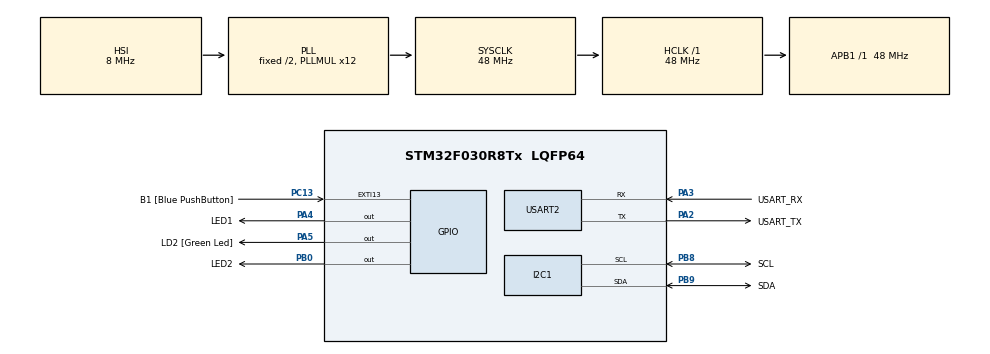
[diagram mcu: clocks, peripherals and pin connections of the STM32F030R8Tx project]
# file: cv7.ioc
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FREERTOS.Queues01=xVisualQueue,16,uint16_t,0,Dynamic,NULL,NULL
FREERTOS.Tasks01=defaultTask,0,128,StartDefaultTask,Default,NULL,Dynamic,NULL,NULL;VisualTask,0,128,StartVisualTask,Default,NULL,Dynamic,NULL,NULL;AcceleroTask,0,128,StartAcceleroTask,Default,NULL,Dynamic,NULL,NULL
FREERTOS.configUSE_NEWLIB_REENTRANT=1
Mcu.Family=STM32F0
Mcu.Name=STM32F030R8Tx
Mcu.Package=LQFP64
NVIC.TIM14_IRQn=true\:3\:0\:false\:false\:true\:false\:false\:true\:true
NVIC.TimeBase=TIM14_IRQn
NVIC.TimeBaseIP=TIM14
PA13.GPIO_Label=TMS
PA13.Mode=Serial_Wire
PA13.Signal=SYS_SWDIO
PA14.GPIO_Label=TCK
PA14.Mode=Serial_Wire
PA14.Signal=SYS_SWCLK
PA2.GPIO_Label=USART_TX
PA2.GPIO_Mode=GPIO_MODE_AF_PP
PA2.GPIO_PuPd=GPIO_NOPULL
PA2.GPIO_Speed=GPIO_SPEED_FREQ_LOW
PA2.Mode=Asynchronous
PA2.Signal=USART2_TX
PA3.GPIO_Label=USART_RX
PA3.GPIO_Mode=GPIO_MODE_AF_PP
PA3.GPIO_PuPd=GPIO_NOPULL
PA3.GPIO_Speed=GPIO_SPEED_FREQ_LOW
PA3.Mode=Asynchronous
PA3.Signal=USART2_RX
PA4.GPIO_Label=LED1
PA4.Signal=GPIO_Output
PA5.GPIO_Label=LD2 [Green Led]
PA5.GPIO_Mode=GPIO_MODE_OUTPUT_PP
PA5.GPIO_PuPd=GPIO_NOPULL
PA5.GPIO_Speed=GPIO_SPEED_FREQ_LOW
PA5.Signal=GPIO_Output
PB0.GPIO_Label=LED2
PB0.Signal=GPIO_Output
PB8.GPIO_Label=SCL
PB8.Mode=I2C
PB8.Signal=I2C1_SCL
PB9.GPIO_Label=SDA
PB9.Mode=I2C
PB9.Signal=I2C1_SDA
PC13.GPIO_Label=B1 [Blue PushButton]
PC13.GPIO_ModeDefaultEXTI=GPIO_MODE_IT_FALLING
PC13.Signal=GPXTI13
PC14-OSC32_IN.Mode=LSE-External-Oscillator
PC14-OSC32_IN.Signal=RCC_OSC32_IN
PC15-OSC32_OUT.Mode=LSE-External-Oscillator
PC15-OSC32_OUT.Signal=RCC_OSC32_OUT
PF0-OSC_IN.Mode=HSE-External-Clock-Source
PF0-OSC_IN.Signal=RCC_OSC_IN
PF1-OSC_OUT.Signal=RCC_OSC_OUT
ProjectManager.HeapSize=0x200
ProjectManager.StackSize=0x400
ProjectManager.TargetToolchain=STM32CubeIDE
RCC.AHBFreq_Value=48000000
RCC.APB1Freq_Value=48000000
RCC.APB1TimFreq_Value=48000000
RCC.HCLKFreq_Value=48000000
RCC.PLLMUL=RCC_PLL_MUL12
RCC.SYSCLKFreq_VALUE=48000000
RCC.SYSCLKSource=RCC_SYSCLKSOURCE_PLLCLK
USART2.VirtualMode-Asynchronous=VM_ASYNC
VP_FREERTOS_VS_CMSIS_V1.Mode=CMSIS_V1
VP_SYS_VS_tim14.Mode=TIM14
board=NUCLEO-F030R8

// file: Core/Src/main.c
/* USER CODE BEGIN Header */
/**
  ******************************************************************************
  * @file           : main.c
  * @brief          : Main program body
  ******************************************************************************
  * @attention
  *
  * Copyright (c) 2023 STMicroelectronics.
  * All rights reserved.
  *
  * This software is licensed under terms that can be found in the LICENSE file
  * in the root directory of this software component.
  * If no LICENSE file comes with this software, it is provided AS-IS.
  *
  ******************************************************************************
  */
/* USER CODE END Header */
#include "main.h"
#include "cmsis_os.h"

/* USER CODE BEGIN Includes */
#include "lis2dw12_reg.h"
#include <stdio.h>
/* USER CODE END Includes */

/* USER CODE BEGIN PD */
#define SEND_MSG_Delay 1000
/* USER CODE END PD */

I2C_HandleTypeDef hi2c1;

UART_HandleTypeDef huart2;

osThreadId defaultTaskHandle;
osThreadId VisualTaskHandle;
osThreadId AcceleroTaskHandle;
osMessageQId xVisualQueueHandle;

void SystemClock_Config(void);
static void MX_GPIO_Init(void);
static void MX_USART2_UART_Init(void);
static void MX_I2C1_Init(void);
void StartDefaultTask(void const * argument);
void StartVisualTask(void const * argument);
void StartAcceleroTask(void const * argument);

/* USER CODE BEGIN 0 */
static int32_t platform_write(void *handle, uint8_t reg,  uint8_t *bufp, uint16_t len);
static int32_t platform_read(void *handle, uint8_t reg,  uint8_t *bufp, uint16_t len);
static stmdev_ctx_t lis2dw12 = {
 .write_reg = platform_write,
 .read_reg = platform_read,
 .handle = &hi2c1,
};

static int32_t platform_write(void *handle, uint8_t reg,  uint8_t *bufp, uint16_t len)
{
 HAL_I2C_Mem_Write(handle, LIS2DW12_I2C_ADD_H, reg, I2C_MEMADD_SIZE_8BIT, bufp, len, 1000);
 return 0;
}
static int32_t platform_read(void *handle, uint8_t reg,  uint8_t *bufp, uint16_t len)
{
 HAL_I2C_Mem_Read(handle, LIS2DW12_I2C_ADD_H, reg, I2C_MEMADD_SIZE_8BIT, bufp, len, 1000);
 return 0;
}

int _write(int file, char const *buf, int n)
{
	HAL_UART_Transmit(&huart2, (uint8_t*)(buf), n, HAL_MAX_DELAY);
	return n;
}
/* USER CODE END 0 */

int main(void)
{

  /* MCU Configuration--------------------------------------------------------*/

  /* Reset of all peripherals, Initializes the Flash interface and the Systick. */
  HAL_Init();

  /* Configure the system clock */
  SystemClock_Config();

  /* Initialize all configured peripherals */
  MX_GPIO_Init();
  MX_USART2_UART_Init();
  MX_I2C1_Init();

  /* Create the queue(s) */
  /* definition and creation of xVisualQueue */
  osMessageQDef(xVisualQueue, 16, uint16_t);
  xVisualQueueHandle = osMessageCreate(osMessageQ(xVisualQueue), NULL);

  /* Create the thread(s) */
  /* definition and creation of defaultTask */
  osThreadDef(defaultTask, StartDefaultTask, osPriorityNormal, 0, 128);
  defaultTaskHandle = osThreadCreate(osThread(defaultTask), NULL);

  /* definition and creation of VisualTask */
  osThreadDef(VisualTask, StartVisualTask, osPriorityNormal, 0, 128);
  VisualTaskHandle = osThreadCreate(osThread(VisualTask), NULL);

  /* definition and creation of AcceleroTask */
  osThreadDef(AcceleroTask, StartAcceleroTask, osPriorityNormal, 0, 128);
  AcceleroTaskHandle = osThreadCreate(osThread(AcceleroTask), NULL);

  /* Start scheduler */
  osKernelStart();

  /* We should never get here as control is now taken by the scheduler */
  /* Infinite loop */
  while (1)
  {

  }
}

void SystemClock_Config(void)
{
  RCC_OscInitTypeDef RCC_OscInitStruct = {0};
  RCC_ClkInitTypeDef RCC_ClkInitStruct = {0};
  RCC_PeriphCLKInitTypeDef PeriphClkInit = {0};

  /** Initializes the RCC Oscillators according to the specified parameters
  * in the RCC_OscInitTypeDef structure.
  */
  RCC_OscInitStruct.OscillatorType = RCC_OSCILLATORTYPE_HSI;
  RCC_OscInitStruct.HSIState = RCC_HSI_ON;
  RCC_OscInitStruct.HSICalibrationValue = RCC_HSICALIBRATION_DEFAULT;
  RCC_OscInitStruct.PLL.PLLState = RCC_PLL_ON;
  RCC_OscInitStruct.PLL.PLLSource = RCC_PLLSOURCE_HSI;
  RCC_OscInitStruct.PLL.PLLMUL = RCC_PLL_MUL12;
  RCC_OscInitStruct.PLL.PREDIV = RCC_PREDIV_DIV1;
  if (HAL_RCC_OscConfig(&RCC_OscInitStruct) != HAL_OK)
  {
    Error_Handler();
  }

  /** Initializes the CPU, AHB and APB buses clocks
  */
  RCC_ClkInitStruct.ClockType = RCC_CLOCKTYPE_HCLK|RCC_CLOCKTYPE_SYSCLK
                              |RCC_CLOCKTYPE_PCLK1;
  RCC_ClkInitStruct.SYSCLKSource = RCC_SYSCLKSOURCE_PLLCLK;
  RCC_ClkInitStruct.AHBCLKDivider = RCC_SYSCLK_DIV1;
  RCC_ClkInitStruct.APB1CLKDivider = RCC_HCLK_DIV1;

  if (HAL_RCC_ClockConfig(&RCC_ClkInitStruct, FLASH_LATENCY_1) != HAL_OK)
  {
    Error_Handler();
  }
  PeriphClkInit.PeriphClockSelection = RCC_PERIPHCLK_I2C1;
  PeriphClkInit.I2c1ClockSelection = RCC_I2C1CLKSOURCE_HSI;
  if (HAL_RCCEx_PeriphCLKConfig(&PeriphClkInit) != HAL_OK)
  {
    Error_Handler();
  }
}

static void MX_I2C1_Init(void)
{

  hi2c1.Instance = I2C1;
  hi2c1.Init.Timing = 0x2000090E;
  hi2c1.Init.OwnAddress1 = 0;
  hi2c1.Init.AddressingMode = I2C_ADDRESSINGMODE_7BIT;
  hi2c1.Init.DualAddressMode = I2C_DUALADDRESS_DISABLE;
  hi2c1.Init.OwnAddress2 = 0;
  hi2c1.Init.OwnAddress2Masks = I2C_OA2_NOMASK;
  hi2c1.Init.GeneralCallMode = I2C_GENERALCALL_DISABLE;
  hi2c1.Init.NoStretchMode = I2C_NOSTRETCH_DISABLE;
  if (HAL_I2C_Init(&hi2c1) != HAL_OK)
  {
    Error_Handler();
  }

  /** Configure Analogue filter
  */
  if (HAL_I2CEx_ConfigAnalogFilter(&hi2c1, I2C_ANALOGFILTER_ENABLE) != HAL_OK)
  {
    Error_Handler();
  }

  /** Configure Digital filter
  */
  if (HAL_I2CEx_ConfigDigitalFilter(&hi2c1, 0) != HAL_OK)
  {
    Error_Handler();
  }

}

static void MX_USART2_UART_Init(void)
{

  huart2.Instance = USART2;
  huart2.Init.BaudRate = 38400;
  huart2.Init.WordLength = UART_WORDLENGTH_8B;
  huart2.Init.StopBits = UART_STOPBITS_1;
  huart2.Init.Parity = UART_PARITY_NONE;
  huart2.Init.Mode = UART_MODE_TX_RX;
  huart2.Init.HwFlowCtl = UART_HWCONTROL_NONE;
  huart2.Init.OverSampling = UART_OVERSAMPLING_16;
  huart2.Init.OneBitSampling = UART_ONE_BIT_SAMPLE_DISABLE;
  huart2.AdvancedInit.AdvFeatureInit = UART_ADVFEATURE_NO_INIT;
  if (HAL_UART_Init(&huart2) != HAL_OK)
  {
    Error_Handler();
  }

}

static void MX_GPIO_Init(void)
{
  GPIO_InitTypeDef GPIO_InitStruct = {0};

  /* GPIO Ports Clock Enable */
  __HAL_RCC_GPIOC_CLK_ENABLE();
  __HAL_RCC_GPIOF_CLK_ENABLE();
  __HAL_RCC_GPIOA_CLK_ENABLE();
  __HAL_RCC_GPIOB_CLK_ENABLE();

  /*Configure GPIO pin Output Level */
  HAL_GPIO_WritePin(GPIOA, LED1_Pin|LD2_Pin, GPIO_PIN_RESET);

  /*Configure GPIO pin Output Level */
  HAL_GPIO_WritePin(LED2_GPIO_Port, LED2_Pin, GPIO_PIN_RESET);

  /*Configure GPIO pin : B1_Pin */
  GPIO_InitStruct.Pin = B1_Pin;
  GPIO_InitStruct.Mode = GPIO_MODE_IT_FALLING;
  GPIO_InitStruct.Pull = GPIO_NOPULL;
  HAL_GPIO_Init(B1_GPIO_Port, &GPIO_InitStruct);

  /*Configure GPIO pins : LED1_Pin LD2_Pin */
  GPIO_InitStruct.Pin = LED1_Pin|LD2_Pin;
  GPIO_InitStruct.Mode = GPIO_MODE_OUTPUT_PP;
  GPIO_InitStruct.Pull = GPIO_NOPULL;
  GPIO_InitStruct.Speed = GPIO_SPEED_FREQ_LOW;
  HAL_GPIO_Init(GPIOA, &GPIO_InitStruct);

  /*Configure GPIO pin : LED2_Pin */
  GPIO_InitStruct.Pin = LED2_Pin;
  GPIO_InitStruct.Mode = GPIO_MODE_OUTPUT_PP;
  GPIO_InitStruct.Pull = GPIO_NOPULL;
  GPIO_InitStruct.Speed = GPIO_SPEED_FREQ_LOW;
  HAL_GPIO_Init(LED2_GPIO_Port, &GPIO_InitStruct);

}

void StartDefaultTask(void const *argument)
{
	/* USER CODE BEGIN 5 */
	//int16_t msg;
	/* Infinite loop */
	for (;;) {
		/* Task 1
		msg = -5000;
		xQueueSend(xVisualQueueHandle, &msg, 0);
		osDelay(300);

		msg = 0;
		xQueueSend(xVisualQueueHandle, &msg, 0);
		osDelay(300);

		msg = 5000;
		xQueueSend(xVisualQueueHandle, &msg, 0);
		osDelay(300);

		msg = 0;
		xQueueSend(xVisualQueueHandle, &msg, 0);
		osDelay(300);*/

		osDelay(1);
	}
	/* USER CODE END 5 */
}

void StartVisualTask(void const * argument)
{
  /* USER CODE BEGIN StartVisualTask */
  /* Infinite loop */
	int16_t msg;
	for (;;)
	{
		if (xQueueReceive(xVisualQueueHandle, &msg, portMAX_DELAY)) {
			if (msg > 1000) {
				HAL_GPIO_WritePin(LED1_GPIO_Port, LED1_Pin, GPIO_PIN_RESET);
				HAL_GPIO_WritePin(LED2_GPIO_Port, LED2_Pin, GPIO_PIN_SET);
			} else if (msg < -1000) {
				HAL_GPIO_WritePin(LED1_GPIO_Port, LED1_Pin, GPIO_PIN_SET);
				HAL_GPIO_WritePin(LED2_GPIO_Port, LED2_Pin, GPIO_PIN_RESET);
			} else {
				HAL_GPIO_WritePin(LED1_GPIO_Port, LED1_Pin, GPIO_PIN_RESET);
				HAL_GPIO_WritePin(LED2_GPIO_Port, LED2_Pin, GPIO_PIN_RESET);
			}
		}
		osDelay(1);
	}
  /* USER CODE END StartVisualTask */
}

void StartAcceleroTask(void const *argument)
{
	/* USER CODE BEGIN StartAcceleroTask */

	// Check device ID
	uint8_t whoamI = 0;
	lis2dw12_device_id_get(&lis2dw12, &whoamI);
	printf("LIS2DW12_ID %s\n", (whoamI == LIS2DW12_ID) ? "OK" : "FAIL");

	// Init Accelerometer
	lis2dw12_full_scale_set(&lis2dw12, LIS2DW12_2g);
	lis2dw12_power_mode_set(&lis2dw12, LIS2DW12_CONT_LOW_PWR_LOW_NOISE_2);
	lis2dw12_block_data_update_set(&lis2dw12, PROPERTY_ENABLE);
	lis2dw12_fifo_mode_set(&lis2dw12, LIS2DW12_STREAM_MODE); // enable continuous FIFO
	lis2dw12_data_rate_set(&lis2dw12, LIS2DW12_XL_ODR_25Hz); // enable part from power-down
	/* Infinite loop */
	for (;;)
	{
		uint8_t samples;
		int16_t raw_acceleration[3];
		static int16_t delay;

		lis2dw12_fifo_data_level_get(&lis2dw12, &samples);
		for (uint8_t i = 0; i < samples; i++) {
			// Read acceleration data
			lis2dw12_acceleration_raw_get(&lis2dw12, raw_acceleration);
			if (xTaskGetTickCount() > delay + SEND_MSG_Delay) {
				printf("X=%d Y=%d Z=%d\n", raw_acceleration[0], raw_acceleration[1], raw_acceleration[2]);
				delay = xTaskGetTickCount();
			}
		}
		xQueueSend(xVisualQueueHandle, &raw_acceleration[0], 0);
		osDelay(50);
	}
	/* USER CODE END StartAcceleroTask */
}

void HAL_TIM_PeriodElapsedCallback(TIM_HandleTypeDef *htim)
{
  if (htim->Instance == TIM14) {
    HAL_IncTick();
  }
}

void Error_Handler(void)
{
  __disable_irq();
  while (1)
  {
  }
}
